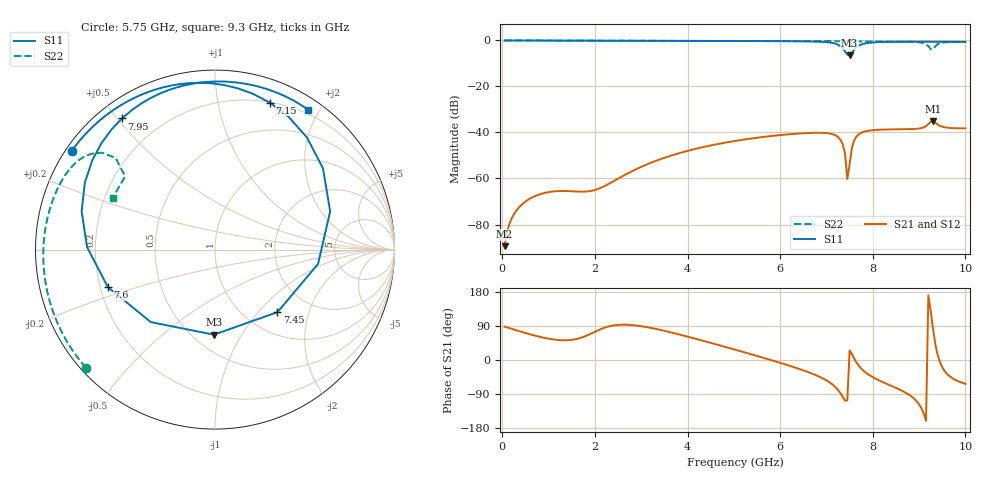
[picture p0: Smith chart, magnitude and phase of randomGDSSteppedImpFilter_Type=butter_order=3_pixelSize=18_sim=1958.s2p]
! freq	dB(S11)	phase(S11)	dB(S12)	phase(S12)
!  dB(S21)	phase(S21)	dB(S22)	phase(S22)
!S-par simulation data
#  GHz  S  DB  R 50
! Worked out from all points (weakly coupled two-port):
!   200 points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, 50 MHz to 10 GHz, reference 50 ohm
!   highest |S21| = -35.07 dB at 9.3 GHz (marker M1); lowest = -89.4 dB at 50 MHz (marker M2)
!   lowest |S11| = -6.5 dB at 7.5 GHz (marker M3), VSWR 2.80, Z = 31.3 - j38.3 ohm
!   |S11| at or under -10 dB: nowhere
!   |S22| runs from -3.9 to 0.0 dB; largest |S21 - S12| = 0
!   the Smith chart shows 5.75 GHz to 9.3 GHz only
!   S11 on the Smith chart (normalised r, x): 5.75 GHz: 0.02, +0.31; 7.15 GHz: 0.21, +1.42; 7.45 GHz: 1.39, -1.28; 7.6 GHz: 0.23, -0.16; 7.95 GHz: 0.07, +0.51; 9.3 GHz: 0.15, +1.86
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0.05  -0.00 -2.6  -89.41 88.1  -89.41 88.1  -0.00 -1.4
0.7  -0.05 -35.2  -67.71 64.5  -67.71 64.5  -0.02 -18.8
1.75  -0.10 -82.9  -65.72 60.8  -65.72 60.8  -0.06 -46.2
2.5  -0.12 -112.1  -60.07 92.8  -60.07 92.8  -0.08 -64.9
3.4  -0.15 -142.8  -51.71 79.7  -51.71 79.7  -0.11 -86.3
5.05  -0.22 167.2  -43.60 26.5  -43.60 26.5  -0.18 -122.8
5.75  -0.27 145.4  -41.67 1.8  -41.67 1.8  -0.22 -137.5
6.7  -0.45 107.8  -40.16 -36.4  -40.16 -36.4  -0.29 -157.4
7.15  -1.17 69.5  -40.85 -66.6  -40.85 -66.6  -0.33 -167.0
7.25  -1.85 50.6  -41.96 -79.0  -41.96 -79.0  -0.34 -169.1
7.35  -3.40 18.4  -45.07 -96.9  -45.07 -96.9  -0.35 -171.3
7.4  -4.73 -7.9  -48.98 -107.6  -48.98 -107.6  -0.35 -172.3
7.45  -6.15 -45.0  -60.21 -106.2  -60.21 -106.2  -0.36 -173.4
7.5  -6.48 -90.7  -53.81 25.0  -53.81 25.0  -0.36 -174.5
7.6  -3.98 -160.7  -43.41 3.5  -43.41 3.5  -0.37 -176.7
7.75  -1.77 152.8  -40.11 -22.4  -40.11 -22.4  -0.39 180.0
7.95  -0.96 125.3  -39.10 -41.7  -39.10 -41.7  -0.41 175.5
8.35  -0.61 97.7  -38.67 -65.5  -38.67 -65.5  -0.47 166.1
9.15  -0.55 62.2  -37.23 -160.7  -37.23 -160.7  -1.62 139.4
9.3  -0.57 56.4  -35.07 82.9  -35.07 82.9  -3.90 153.1
9.45  -0.57 50.6  -37.09 -5.7  -37.09 -5.7  -1.18 152.3
10  -0.62 29.4  -38.18 -62.8  -38.18 -62.8  -0.64 132.0
